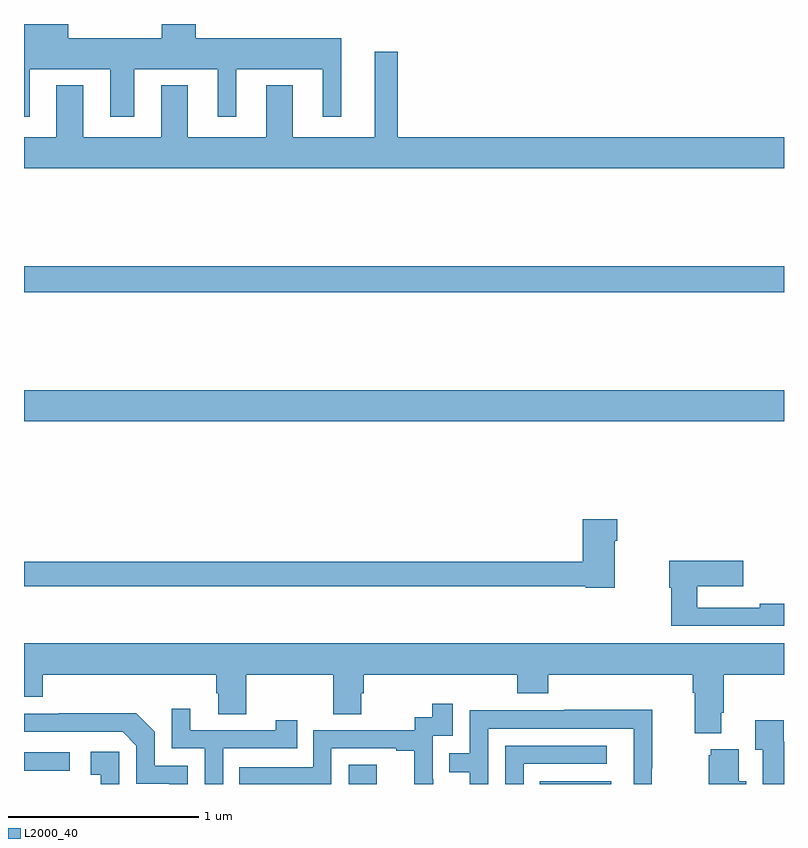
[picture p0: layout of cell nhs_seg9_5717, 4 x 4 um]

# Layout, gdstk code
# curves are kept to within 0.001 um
import gdstk
lib = gdstk.Library(unit=1e-6, precision=1e-09)
def R(c, l, rs):  # rectangles x0, y0, x1, y1
    for r in rs: c.add(gdstk.rectangle(r[:2], r[2:], *l))
def P(c, l, *ps):  # polygons
    for p in ps: c.add(gdstk.Polygon(p, *l))
L2000_40 = (2000, 40)

nhs_seg9_5717 = lib.new_cell('nhs_seg9_5717')
R(nhs_seg9_5717, L2000_40, [(444.708,1206.5,444.856,1206.601), (445.714,1206.5,446.092,1206.514), (443,1206.57,443.242,1206.666), (443,1208.408,447,1208.572), (443,1209.088,447,1209.224)])
P(nhs_seg9_5717, L2000_40, [(443.029,1210.262),(443.453,1210.262),(443.453,1210.011),(443.581,1210.011),(443.581,1210.262),(444.02,1210.262),(444.02,1210.011),(444.118,1210.011),(444.118,1210.262),(444.572,1210.262),(444.572,1210.011),(444.67,1210.011),(444.67,1210.426),(443.903,1210.426),(443.903,1210.5),(443.725,1210.5),(443.725,1210.426),(443.233,1210.426),(443.233,1210.5),(443,1210.5),(443,1210.011),(443.029,1210.011)],
  [(447,1209.904),(444.967,1209.904),(444.967,1210.354),(444.845,1210.354),(444.845,1209.904),(444.415,1209.904),(444.415,1210.177),(444.275,1210.177),(444.275,1209.904),(443.863,1209.904),(443.863,1210.177),(443.723,1210.177),(443.723,1209.904),(443.311,1209.904),(443.311,1210.177),(443.171,1210.177),(443.171,1209.904),(443,1209.904),(443,1209.74),(447,1209.74)],
  [(446.11,1207.781),(446.123,1207.781),(446.123,1207.894),(445.94,1207.894),(445.94,1207.67),(443,1207.67),(443,1207.542),(445.956,1207.542),(445.956,1207.534),(446.11,1207.534)],
  [(447,1207.448),(446.872,1207.448),(446.872,1207.428),(446.543,1207.428),(446.543,1207.541),(446.785,1207.541),(446.785,1207.676),(446.396,1207.676),(446.396,1207.534),(446.407,1207.534),(446.407,1207.332),(447,1207.332)],
  [(443,1206.959),(443.099,1206.959),(443.099,1207.076),(444.011,1207.076),(444.011,1206.978),(444.023,1206.978),(444.023,1206.868),(444.171,1206.868),(444.171,1207.076),(444.628,1207.076),(444.628,1206.868),(444.775,1206.868),(444.775,1206.978),(444.788,1206.978),(444.788,1207.076),(445.595,1207.076),(445.595,1206.977),(445.76,1206.977),(445.76,1207.076),(446.519,1207.076),(446.519,1206.98),(446.531,1206.98),(446.531,1206.767),(446.671,1206.767),(446.671,1206.874),(446.684,1206.874),(446.684,1207.076),(447,1207.076),(447,1207.24),(443,1207.24)],
  [(444.618,1206.687),(444.959,1206.687),(444.959,1206.675),(445.055,1206.675),(445.055,1206.5),(445.154,1206.5),(445.154,1206.524),(445.152,1206.524),(445.152,1206.753),(445.257,1206.753),(445.257,1206.922),(445.149,1206.922),(445.149,1206.852),(445.056,1206.852),(445.056,1206.783),(444.522,1206.783),(444.522,1206.588),(444.133,1206.588),(444.133,1206.5),(444.618,1206.5)],
  [(444.048,1206.687),(444.437,1206.687),(444.437,1206.835),(444.326,1206.835),(444.326,1206.783),(443.875,1206.783),(443.875,1206.895),(443.778,1206.895),(443.778,1206.687),(443.952,1206.687),(443.952,1206.5),(444.048,1206.5)],
  [(445.443,1206.792),(446.208,1206.792),(446.208,1206.5),(446.304,1206.5),(446.304,1206.583),(446.307,1206.583),(446.307,1206.89),(445.843,1206.89),(445.843,1206.888),(445.347,1206.888),(445.347,1206.663),(445.237,1206.663),(445.237,1206.562),(445.347,1206.562),(445.347,1206.5),(445.443,1206.5)],
  [(443.862,1206.597),(443.688,1206.597),(443.688,1206.774),(443.59,1206.872),(443.182,1206.872),(443.182,1206.87),(443,1206.87),(443,1206.774),(443.52,1206.774),(443.592,1206.702),(443.592,1206.501),(443.862,1206.5)],
  [(447,1206.722),(446.998,1206.722),(446.998,1206.835),(446.849,1206.835),(446.849,1206.679),(446.889,1206.679),(446.889,1206.5),(447,1206.5)],
  [(445.629,1206.606),(446.068,1206.606),(446.068,1206.702),(445.533,1206.702),(445.533,1206.5),(445.629,1206.5)],
  [(446.8,1206.514),(446.761,1206.514),(446.761,1206.682),(446.615,1206.682),(446.615,1206.651),(446.603,1206.651),(446.603,1206.5),(446.8,1206.5)],
  [(443.502,1206.67),(443.352,1206.67),(443.352,1206.549),(443.405,1206.549),(443.405,1206.5),(443.502,1206.5)])

lib.write_gds('nhs_seg9_5717.gds')
